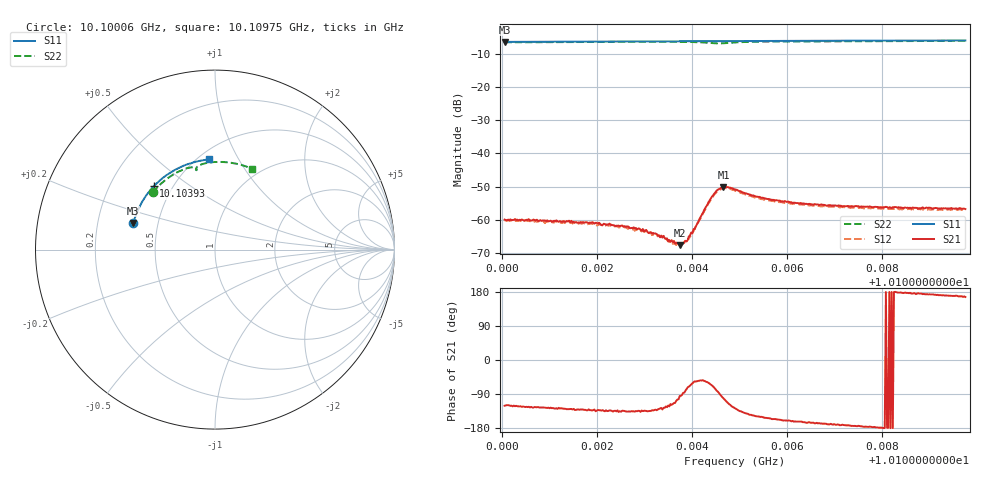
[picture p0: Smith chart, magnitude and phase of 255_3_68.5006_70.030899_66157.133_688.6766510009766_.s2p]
#  HZ  S  RI  R  50.00
! Rohde & Schwarz Vector Network Analyzer
! Rohde-Schwarz,ZNB20-2Port,1311601062101988,3.16
! Created: UTC 3/20/2024, 5:00:01 PM
! freq[Hz]  re:S11  im:S11  re:S21  im:S21  re:S12  im:S12  re:S22  im:S22
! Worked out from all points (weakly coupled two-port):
!   401 points, 10.10006 GHz to 10.10975 GHz, reference 50 ohm
!   highest |S21| = -50.14 dB at 10.10466 GHz (marker M1); lowest = -67.7 dB at 10.10374 GHz (marker M2)
!   lowest |S11| = -6.4 dB at 10.10006 GHz (marker M3), VSWR 2.84, Z = 18 + j6.97 ohm
!   |S11| at or under -10 dB: nowhere
!   |S22| runs from -6.9 to -6.1 dB; largest |S21 - S12| = 0.00031
!   S11 on the Smith chart (normalised r, x): 10.10006 GHz: 0.36, +0.14; 10.10393 GHz: 0.39, +0.37; 10.10975 GHz: 0.57, +0.76
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1.0100057e10  -0.4549 0.1491  -0.000513 -0.000865  -0.000423 -0.000872  -0.3475 0.3184
1.010168e10  -0.4195 0.2414  -0.000593 -0.000691  -0.000532 -0.000689  -0.2719 0.3912
1.0102625e10  -0.3906 0.2909  -0.000566 -0.000548  -0.000483 -0.000582  -0.2203 0.4253
1.0103013e10  -0.3771 0.3101  -0.000481 -0.000497  -0.000432 -0.00051  -0.1972 0.4371
1.0103304e10  -0.3662 0.3241  -0.000367 -0.000452  -0.000348 -0.000457  -0.1794 0.4452
1.0103546e10  -0.3568 0.3354  -0.000205 -0.000415  -0.000182 -0.000415  -0.1635 0.4512
1.010374e10  -0.3491 0.3442  -3.63e-05 -0.000411  -1.85e-05 -0.000422  -0.15 0.455
1.0103837e10  -0.3452 0.3486  2.95e-05 -0.000447  0.000107 -0.000452  -0.1428 0.4568
1.0103933e10  -0.3411 0.3528  0.000191 -0.000528  0.000229 -0.000465  -0.1357 0.4579
1.0104055e10  -0.336 0.3583  0.000402 -0.000599  0.000452 -0.00057  -0.1262 0.4585
1.0104297e10  -0.3256 0.3685  0.000848 -0.00133  0.000931 -0.00121  -0.1078 0.4541
1.0104418e10  -0.3202 0.3735  0.000868 -0.00205  0.000972 -0.00187  -0.102 0.4482
1.0104539e10  -0.3149 0.3784  0.000334 -0.00282  0.000544 -0.00263  -0.1019 0.443
1.010466e10  -0.3094 0.3834  -0.000608 -0.00305  -0.00034 -0.00293  -0.1056 0.4438
1.0104757e10  -0.305 0.3871  -0.00124 -0.00283  -0.000963 -0.00284  -0.1063 0.4493
1.0104902e10  -0.2984 0.3929  -0.00174 -0.00229  -0.00149 -0.0023  -0.1018 0.4584
1.0105145e10  -0.287 0.4021  -0.00194 -0.00155  -0.00171 -0.00165  -0.0871 0.4698
1.0105508e10  -0.2692 0.4153  -0.00187 -0.001  -0.00169 -0.00108  -0.0622 0.4791
1.0106138e10  -0.2373 0.436  -0.00172 -0.000544  -0.0016 -0.00069  -0.0198 0.4865
1.0106526e10  -0.2169 0.4477  -0.00165 -0.00043  -0.00154 -0.000554  0.00582 0.4884
1.0108149e10  -0.126 0.4844  -0.00154 9.71e-06  -0.00145 -0.000141  0.1102 0.48
1.0109748e10  -0.031 0.5023  -0.00141 0.000342  -0.00139 0.000173  0.2076 0.4501
